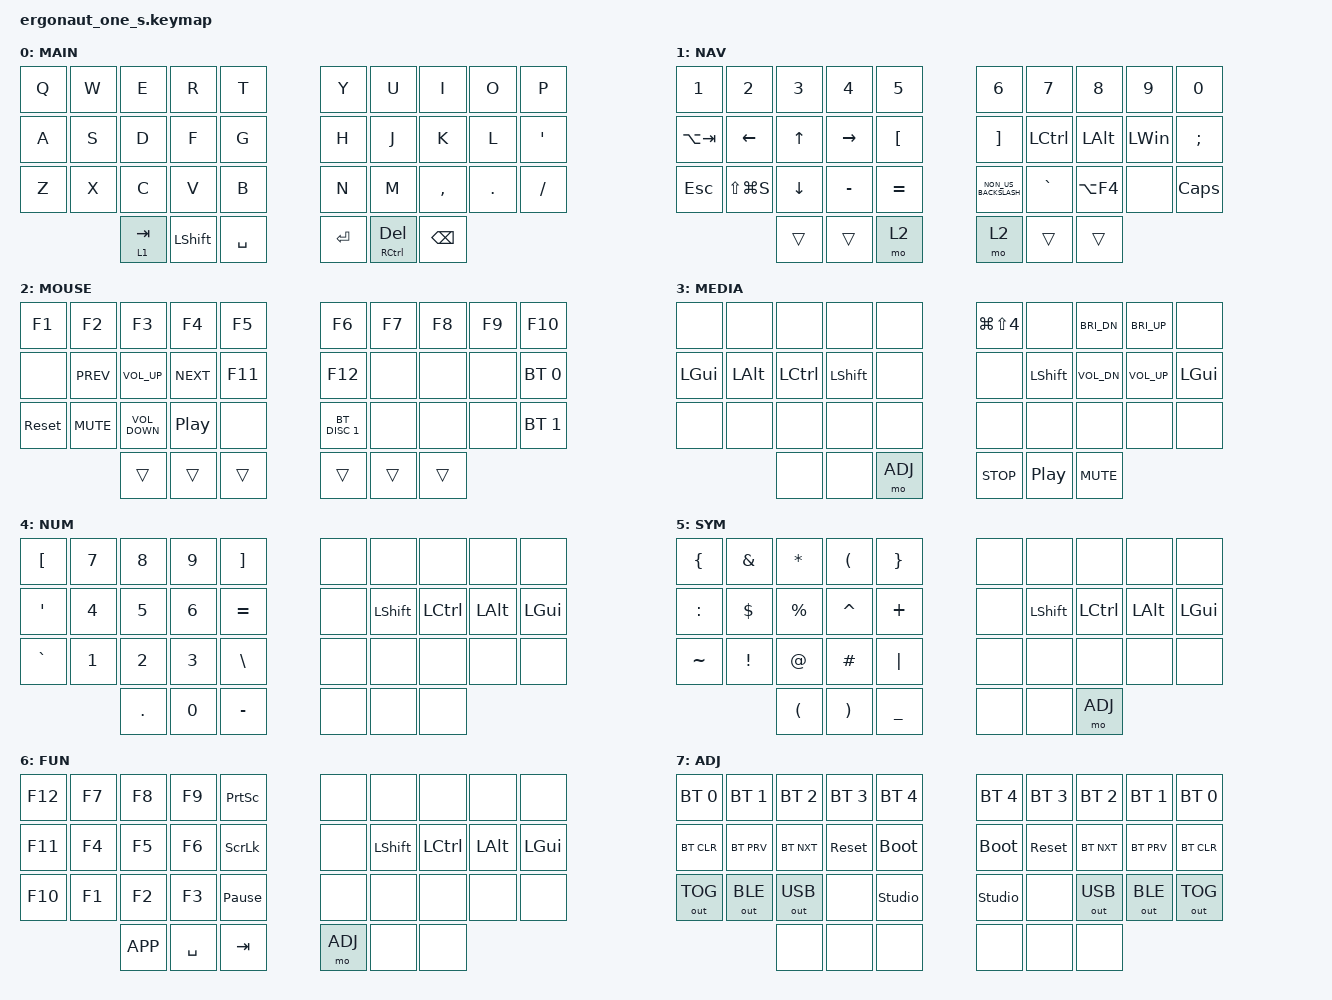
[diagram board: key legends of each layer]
#include <behaviors.dtsi>
#include <dt-bindings/zmk/bt.h>
#include <dt-bindings/zmk/keys.h>
#include <dt-bindings/zmk/outputs.h>

#define BASE 0
#define NAV 1
#define MOUSE 2
#define MEDIA 3
#define NUM 4
#define SYM 5
#define FUN 6
#define ADJ 7

&mt {
};

&lt {
};

/ {
    keymap {
        compatible = "zmk,keymap";

        default_layer {
            display-name = "MAIN";
            bindings = <
&kp Q  &kp W  &kp E  &kp R      &kp T      &kp Y      &kp U       &kp I          &kp O          &kp P
&kp A  &kp S  &kp D  &kp F      &kp G      &kp H      &kp J       &kp K          &kp L          &kp SQT
&kp Z  &kp X  &kp C  &kp V      &kp B      &kp N      &kp M       &kp COMMA      &kp DOT        &kp FSLH
                     &lt 1 TAB  &kp LSHFT  &kp SPACE  &kp RETURN  &mt RCTRL DEL  &kp BACKSPACE
            >;
        };

        nav_layer {
            display-name = "NAV";
            bindings = <
&kp NUMBER_1  &kp NUMBER_2    &kp NUMBER_3  &kp NUMBER_4  &kp N5            &kp NUMBER_6          &kp N7     &kp N8        &kp N9        &kp N0
&kp LA(TAB)   &kp LEFT_ARROW  &kp UP_ARROW  &kp RIGHT     &kp LEFT_BRACKET  &kp RIGHT_BRACKET     &kp LCTRL  &kp LEFT_ALT  &kp LEFT_WIN  &kp SEMICOLON
&kp ESCAPE    &kp LS(LG(S))   &kp DOWN      &kp MINUS     &kp EQUAL         &kp NON_US_BACKSLASH  &kp GRAVE  &kp LA(F4)    &none         &kp CAPS
                                            &trans        &trans            &mo 2                 &mo 2      &trans        &trans
            >;
        };

        mouse_layer {
            display-name = "MOUSE";
            bindings = <
&kp F1      &kp F2      &kp F3             &kp F4            &kp F5   &kp F6         &kp F7  &kp F8  &kp F9  &kp F10
&none       &kp C_PREV  &kp C_VOLUME_UP    &kp C_NEXT        &kp F11  &kp F12        &none   &none   &none   &bt BT_SEL 0
&sys_reset  &kp C_MUTE  &kp C_VOLUME_DOWN  &kp C_PLAY_PAUSE  &none    &bt BT_DISC 1  &none   &none   &none   &bt BT_SEL 1
                                           &trans            &trans   &trans         &trans  &trans  &trans
            >;
        };

        media_layer {
            display-name = "MEDIA";
            bindings = <
&none     &none     &none      &none      &none  &kp LG(LS(N4))  &none       &kp C_BRI_DN  &kp C_BRI_UP  &none
&kp LGUI  &kp LALT  &kp LCTRL  &kp LSHFT  &none  &none           &kp LSHFT   &kp C_VOL_DN  &kp C_VOL_UP  &kp LGUI
&none     &none     &none      &none      &none  &none           &none       &none         &none         &none
                               &none      &none  &mo ADJ         &kp C_STOP  &kp C_PP      &kp K_MUTE
            >;
        };

        num_layer {
            display-name = "NUM";
            bindings = <
&kp LBKT   &kp N7  &kp N8  &kp N9   &kp RBKT   &none      &none      &none      &none     &none
&kp SQT    &kp N4  &kp N5  &kp N6   &kp EQUAL  &none      &kp LSHFT  &kp LCTRL  &kp LALT  &kp LGUI
&kp GRAVE  &kp N1  &kp N2  &kp N3   &kp BSLH   &none      &none      &none      &none     &none
                           &kp DOT  &kp N0     &kp MINUS  &none      &none      &none
            >;
        };

        sym_layer {
            display-name = "SYM";
            bindings = <
&kp LBRC   &kp AMPS  &kp STAR   &kp LPAR   &kp RBRC  &none      &none      &none      &none     &none
&kp COLON  &kp DLLR  &kp PRCNT  &kp CARET  &kp PLUS  &none      &kp LSHFT  &kp LCTRL  &kp LALT  &kp LGUI
&kp TILDE  &kp EXCL  &kp AT     &kp HASH   &kp PIPE  &none      &none      &none      &none     &none
                                &kp LPAR   &kp RPAR  &kp UNDER  &none      &none      &mo ADJ
            >;
        };

        fun_layer {
            display-name = "FUN";
            bindings = <
&kp F12  &kp F7  &kp F8  &kp F9     &kp PSCRN        &none    &none      &none      &none     &none
&kp F11  &kp F4  &kp F5  &kp F6     &kp SLCK         &none    &kp LSHFT  &kp LCTRL  &kp LALT  &kp LGUI
&kp F10  &kp F1  &kp F2  &kp F3     &kp PAUSE_BREAK  &none    &none      &none      &none     &none
                         &kp K_APP  &kp SPACE        &kp TAB  &mo ADJ    &none      &none
            >;
        };

        adj_layer {
            display-name = "ADJ";
            bindings = <
&bt BT_SEL 0  &bt BT_SEL 1  &bt BT_SEL 2  &bt BT_SEL 3  &bt BT_SEL 4    &bt BT_SEL 4    &bt BT_SEL 3  &bt BT_SEL 2  &bt BT_SEL 1  &bt BT_SEL 0
&bt BT_CLR    &bt BT_PRV    &bt BT_NXT    &sys_reset    &bootloader     &bootloader     &sys_reset    &bt BT_NXT    &bt BT_PRV    &bt BT_CLR
&out OUT_TOG  &out OUT_BLE  &out OUT_USB  &none         &studio_unlock  &studio_unlock  &none         &out OUT_USB  &out OUT_BLE  &out OUT_TOG
                                          &none         &none           &none           &none         &none         &none
            >;
        };
    };
};
